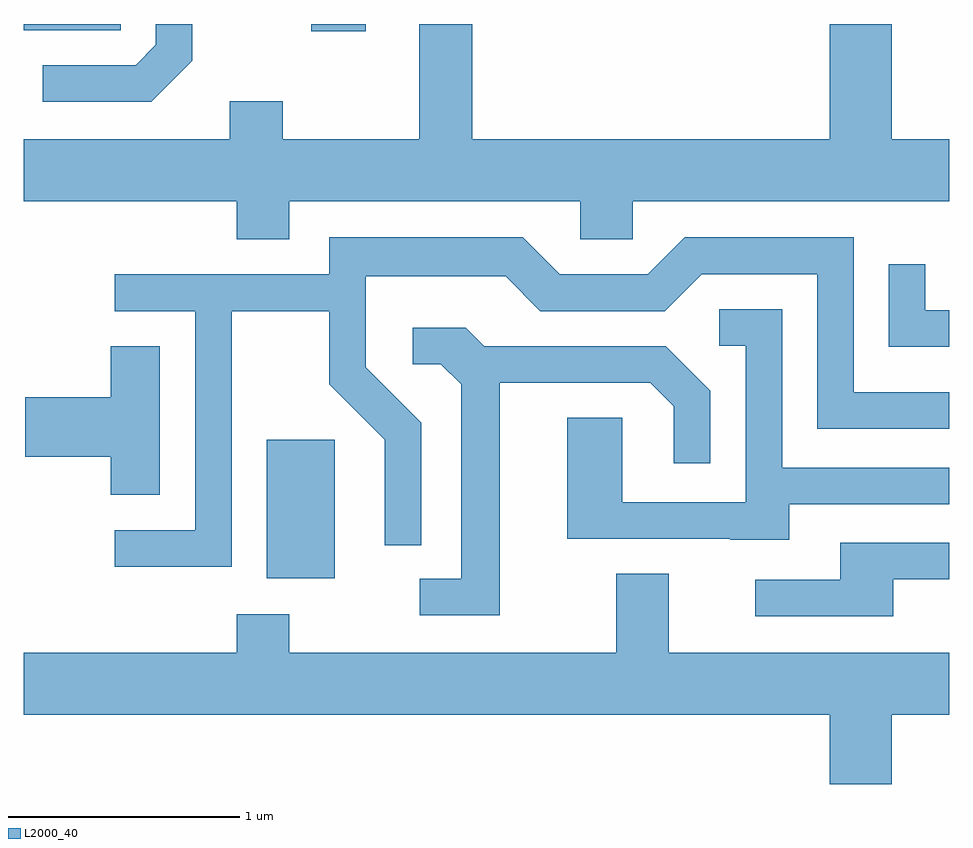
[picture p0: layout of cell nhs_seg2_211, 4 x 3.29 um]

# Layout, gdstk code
import gdstk
lib = gdstk.Library(unit=1e-6, precision=1e-09)
def R(c, l, rs):  # rectangles x0, y0, x1, y1
    for r in rs: c.add(gdstk.rectangle(r[:2], r[2:], *l))
def P(c, l, *ps):  # polygons
    for p in ps: c.add(gdstk.Polygon(p, *l))
L2000_40 = (2000, 40)

nhs_seg2_211 = lib.new_cell('nhs_seg2_211')
R(nhs_seg2_211, L2000_40, [(192.661,993.406,192.954,994.004), (192.853,995.771,193.089,995.802), (191.611,995.776,192.029,995.802)])
P(nhs_seg2_211, L2000_40, [(192.759,995.036),(194.016,995.036),(194.016,994.871),(194.244,994.871),(194.244,995.036),(195.611,995.036),(195.611,995.304),(195.364,995.304),(195.364,995.802),(195.096,995.802),(195.096,995.304),(193.549,995.304),(193.549,995.802),(193.321,995.802),(193.321,995.304),(192.729,995.304),(192.729,995.469),(192.501,995.469),(192.501,995.304),(191.611,995.304),(191.611,995.036),(192.531,995.036),(192.531,994.871),(192.759,994.871)],
  [(192.339,995.644),(192.339,995.802),(192.181,995.802),(192.181,995.712),(192.094,995.624),(191.693,995.624),(191.693,995.466),(192.162,995.466)],
  [(192.509,994.561),(192.931,994.561),(192.931,994.244),(193.171,994.004),(193.171,993.548),(193.329,993.548),(193.329,994.077),(193.089,994.317),(193.089,994.711),(193.694,994.711),(193.844,994.561),(194.382,994.561),(194.542,994.721),(195.041,994.721),(195.041,994.051),(195.611,994.051),(195.611,994.209),(195.199,994.209),(195.199,994.879),(194.469,994.879),(194.309,994.719),(193.927,994.719),(193.767,994.879),(192.931,994.879),(192.931,994.719),(192.003,994.719),(192.003,994.561),(192.351,994.561),(192.351,993.614),(192.003,993.614),(192.003,993.456),(192.509,993.456)],
  [(195.611,994.564),(195.509,994.564),(195.509,994.763),(195.351,994.763),(195.351,994.406),(195.611,994.406)],
  [(194.919,993.726),(195.611,993.726),(195.611,993.884),(194.889,993.884),(194.889,994.569),(194.618,994.569),(194.618,994.411),(194.731,994.411),(194.731,993.734),(194.199,993.734),(194.199,994.099),(193.961,994.099),(193.961,993.576),(194.665,993.576),(194.665,993.571),(194.919,993.571)],
  [(193.669,994.251),(194.319,994.251),(194.421,994.149),(194.421,993.903),(194.579,993.903),(194.579,994.217),(194.387,994.409),(193.602,994.409),(193.522,994.489),(193.293,994.489),(193.293,994.331),(193.414,994.331),(193.501,994.244),(193.501,993.404),(193.323,993.404),(193.323,993.246),(193.669,993.246)],
  [(192.199,994.409),(191.986,994.409),(191.986,994.189),(191.616,994.189),(191.616,993.931),(191.986,993.931),(191.986,993.766),(192.199,993.766)],
  [(195.369,993.401),(195.611,993.401),(195.611,993.559),(195.141,993.559),(195.141,993.399),(194.773,993.399),(194.773,993.241),(195.369,993.241)],
  [(195.364,992.816),(195.611,992.816),(195.611,993.084),(194.399,993.084),(194.399,993.424),(194.171,993.424),(194.171,993.084),(192.759,993.084),(192.759,993.249),(192.531,993.249),(192.531,993.084),(191.611,993.084),(191.611,992.816),(195.096,992.816),(195.096,992.516),(195.364,992.516)])

lib.write_gds('nhs_seg2_211.gds')
